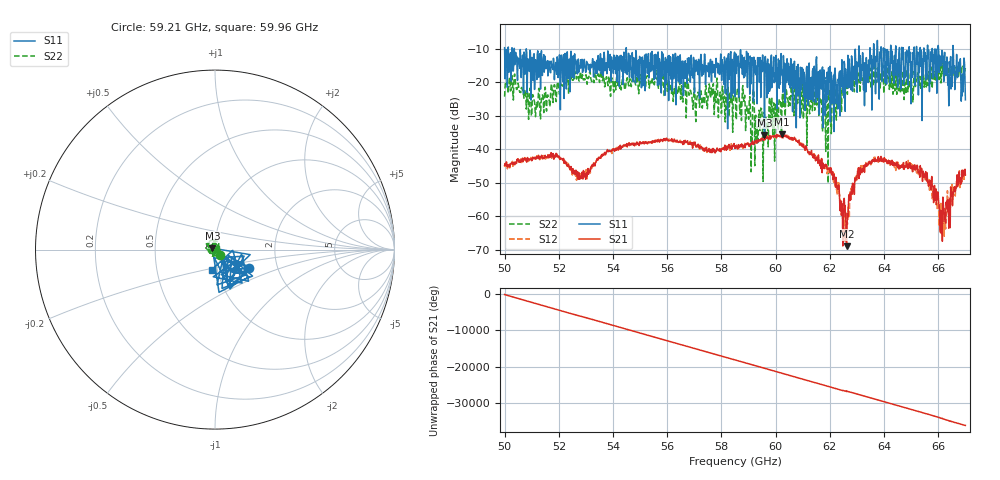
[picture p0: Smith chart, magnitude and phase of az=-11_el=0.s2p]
!Created with skrf (http://scikit-rf.org).
# GHz S RI R 50.0
!freq ReS11 ImS11 ReS21 ImS21 ReS12 ImS12 ReS22 ImS22
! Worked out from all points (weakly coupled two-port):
!   1001 points, 50 GHz to 67 GHz, reference 50 ohm
!   highest |S21| = -35.53 dB at 60.23 GHz (marker M1); lowest = -68.9 dB at 62.61 GHz (marker M2)
!   lowest |S11| = -35.7 dB at 59.59 GHz (marker M3), VSWR 1.03, Z = 48.6 + j0.791 ohm
!   |S11| at or under -10 dB: 50.8 GHz to 54.49 GHz (3.687 GHz wide, 7 % of centre); 54.49 GHz to 63.07 GHz (8.581 GHz wide, 14.6 % of centre); 66.01 GHz to 66.54 GHz (529.7 MHz wide, 0.799 % of centre) (the widest 3 of 27)
!   |S22| runs from -50.1 to -13.8 dB; largest |S21 - S12| = 0.0021
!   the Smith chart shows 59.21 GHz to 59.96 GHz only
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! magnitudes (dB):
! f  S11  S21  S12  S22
! 50 GHz  -9.6  -44.8  -45.3  -24.3
! 50.42 GHz  -13.2  -43.8  -44.2  -21.6
! 51.07 GHz  -11.7  -42.6  -42.1  -24.5
! 51.94 GHz  -12.4  -41.7  -41.4  -20.3
! 52.84 GHz  -13.9  -47.9  -47.6  -19.3
! 53.84 GHz  -15.5  -40.6  -40.7  -18.4
! 55.68 GHz  -13.5  -37.3  -37.0  -22.0
! 57 GHz  -23.2  -38.2  -38.2  -21.6
! 57.62 GHz  -15.8  -40.0  -40.9  -21.9
! 58.5 GHz  -24.2  -39.7  -39.2  -24.2
! 59.59 GHz  -35.7  -37.1  -36.7  -29.6
! 60.23 GHz  -16.5  -35.5  -35.7  -25.8
! 61.34 GHz  -25.0  -41.6  -41.7  -26.0
! 62 GHz  -15.2  -46.2  -46.0  -25.3
! 62.61 GHz  -20.5  -68.9  -61.1  -20.2
! 63.11 GHz  -19.5  -47.6  -46.0  -23.0
! 64.18 GHz  -17.5  -44.2  -43.5  -18.5
! 65.52 GHz  -12.9  -47.2  -49.5  -18.5
! 66.22 GHz  -13.3  -58.8  -65.9  -14.4
! 66.42 GHz  -15.2  -61.1  -56.3  -16.2
! 66.75 GHz  -16.7  -50.5  -50.2  -18.5
! 67 GHz  -25.2  -47.7  -46.1  -15.7
